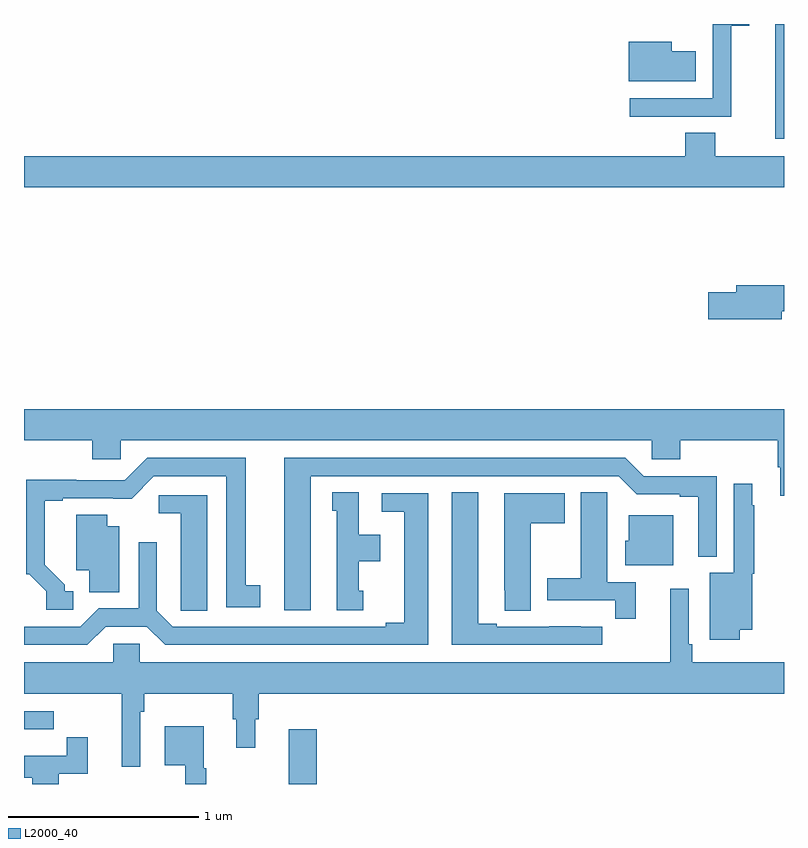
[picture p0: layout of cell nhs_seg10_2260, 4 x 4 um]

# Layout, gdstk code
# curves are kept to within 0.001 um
import gdstk
lib = gdstk.Library(unit=1e-6, precision=1e-09)
def R(c, l, rs):  # rectangles x0, y0, x1, y1
    for r in rs: c.add(gdstk.rectangle(r[:2], r[2:], *l))
def P(c, l, *ps):  # polygons
    for p in ps: c.add(gdstk.Polygon(p, *l))
L2000_40 = (2000, 40)

nhs_seg10_2260 = lib.new_cell('nhs_seg10_2260')
R(nhs_seg10_2260, L2000_40, [(232.394,1306.5,232.541,1306.789), (234.953,1309.896,235,1310.5)])
P(nhs_seg10_2260, L2000_40, [(234.723,1310.491),(234.817,1310.491),(234.817,1310.5),(234.624,1310.5),(234.624,1310.109),(234.189,1310.109),(234.189,1310.013),(234.723,1310.013)],
  [(234.535,1310.356),(234.409,1310.356),(234.409,1310.407),(234.182,1310.407),(234.182,1310.198),(234.535,1310.198)],
  [(235,1309.804),(234.639,1309.804),(234.639,1309.928),(234.479,1309.928),(234.479,1309.804),(231,1309.804),(231,1309.64),(235,1309.64)],
  [(234.988,1308.988),(235,1308.988),(235,1309.124),(234.749,1309.124),(234.749,1309.088),(234.6,1309.088),(234.6,1308.946),(234.988,1308.946)],
  [(231,1308.308),(231.359,1308.308),(231.359,1308.21),(231.51,1308.21),(231.51,1308.308),(234.303,1308.308),(234.303,1308.21),(234.455,1308.21),(234.455,1308.308),(234.968,1308.308),(234.968,1308.166),(234.98,1308.166),(234.98,1308.018),(235,1308.018),(235,1308.472),(231,1308.472)],
  [(231.259,1307.514),(231.214,1307.514),(231.214,1307.549),(231.109,1307.654),(231.109,1307.991),(231.205,1307.991),(231.205,1308.003),(231.566,1308.002),(231.684,1308.12),(232.064,1308.12),(232.064,1307.43),(232.243,1307.43),(232.243,1307.546),(232.168,1307.546),(232.168,1308.216),(231.648,1308.216),(231.531,1308.099),(231.275,1308.099),(231.275,1308.101),(231.012,1308.101),(231.012,1307.604),(231.027,1307.604),(231.117,1307.514),(231.117,1307.418),(231.259,1307.418)],
  [(232.51,1308.12),(234.129,1308.12),(234.225,1308.024),(234.452,1308.024),(234.452,1308.012),(234.548,1308.012),(234.548,1307.696),(234.645,1307.696),(234.645,1308.12),(234.261,1308.12),(234.165,1308.216),(232.37,1308.216),(232.37,1307.415),(232.51,1307.415)],
  [(234.766,1307.312),(234.832,1307.312),(234.832,1307.607),(234.844,1307.607),(234.844,1307.966),(234.832,1307.966),(234.832,1308.079),(234.735,1308.079),(234.735,1307.611),(234.608,1307.611),(234.608,1307.259),(234.766,1307.259)],
  [(234.221,1307.562),(234.07,1307.562),(234.07,1307.924),(234.069,1307.924),(234.069,1308.035),(233.93,1308.035),(233.93,1307.583),(233.753,1307.583),(233.753,1307.466),(234.112,1307.466),(234.112,1307.37),(234.221,1307.37)],
  [(234.043,1307.328),(233.93,1307.328),(233.93,1307.329),(233.764,1307.329),(233.764,1307.328),(233.488,1307.328),(233.488,1307.343),(233.392,1307.343),(233.392,1308.035),(233.252,1308.035),(233.252,1307.232),(234.043,1307.232)],
  [(232.786,1307.517),(232.762,1307.517),(232.762,1307.672),(232.876,1307.672),(232.876,1307.812),(232.762,1307.812),(232.762,1308.035),(232.622,1308.035),(232.622,1307.937),(232.646,1307.937),(232.646,1307.415),(232.786,1307.415)],
  [(233.668,1307.872),(233.845,1307.872),(233.845,1308.031),(233.528,1308.031),(233.528,1307.521),(233.529,1307.521),(233.529,1307.413),(233.668,1307.413)],
  [(231.429,1307.328),(231.647,1307.328),(231.743,1307.232),(233.128,1307.232),(233.128,1308.03),(232.884,1308.03),(232.884,1307.934),(233,1307.934),(233,1307.348),(232.904,1307.348),(232.904,1307.328),(231.783,1307.328),(231.699,1307.412),(231.699,1307.773),(231.603,1307.773),(231.603,1307.424),(231.393,1307.424),(231.297,1307.328),(231,1307.328),(231,1307.232),(231.333,1307.232)],
  [(231.964,1308.021),(231.708,1308.021),(231.708,1307.924),(231.824,1307.924),(231.824,1307.521),(231.825,1307.521),(231.825,1307.413),(231.964,1307.413)],
  [(231.502,1307.857),(231.439,1307.857),(231.439,1307.918),(231.275,1307.918),(231.275,1307.624),(231.344,1307.624),(231.344,1307.509),(231.502,1307.509)],
  [(234.418,1307.914),(234.182,1307.914),(234.182,1307.781),(234.164,1307.781),(234.164,1307.651),(234.418,1307.651)],
  [(231.612,1306.88),(231.632,1306.88),(231.632,1306.976),(232.099,1306.976),(232.099,1306.842),(232.118,1306.842),(232.118,1306.692),(232.216,1306.692),(232.216,1306.842),(232.235,1306.842),(232.235,1306.976),(235,1306.976),(235,1307.14),(234.518,1307.14),(234.518,1307.236),(234.498,1307.236),(234.498,1307.527),(234.401,1307.527),(234.401,1307.14),(231.609,1307.14),(231.609,1307.238),(231.471,1307.238),(231.471,1307.14),(231,1307.14),(231,1306.976),(231.515,1306.976),(231.515,1306.59),(231.612,1306.59)],
  [(231.044,1306.788),(231.157,1306.788),(231.157,1306.884),(231,1306.884),(231,1306.787),(231.044,1306.787)],
  [(231.958,1306.584),(231.946,1306.584),(231.946,1306.804),(231.74,1306.804),(231.74,1306.598),(231.849,1306.598),(231.849,1306.5),(231.958,1306.5)],
  [(231.184,1306.554),(231.335,1306.554),(231.335,1306.747),(231.226,1306.747),(231.226,1306.65),(231,1306.65),(231,1306.534),(231.044,1306.534),(231.044,1306.5),(231.184,1306.5)])

lib.write_gds('nhs_seg10_2260.gds')
